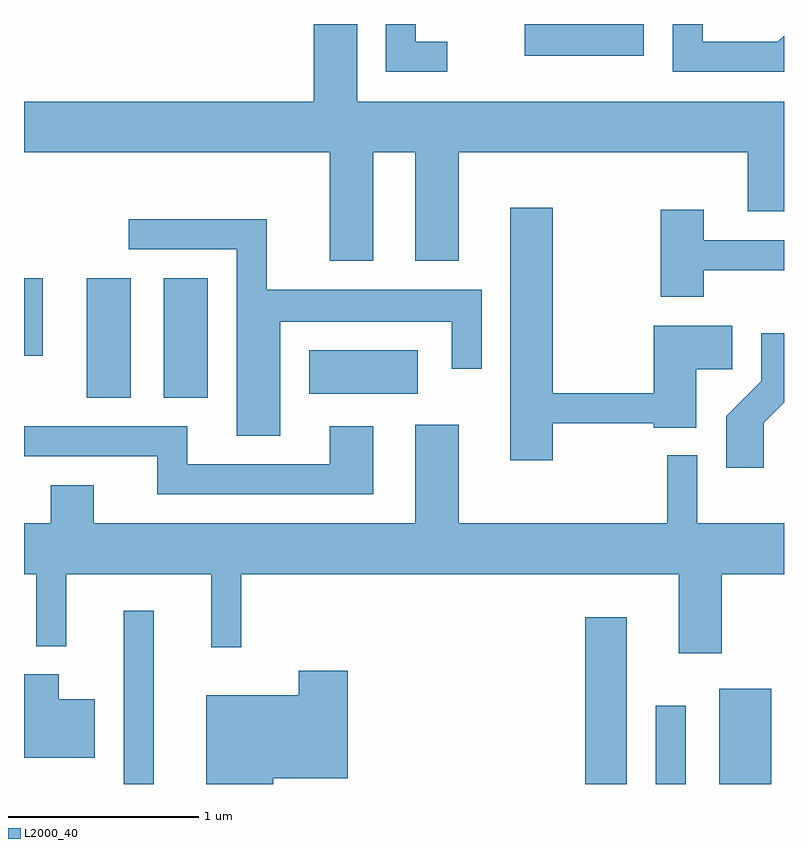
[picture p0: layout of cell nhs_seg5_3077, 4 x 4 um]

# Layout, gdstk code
import gdstk
lib = gdstk.Library(unit=1e-6, precision=1e-09)
def R(c, l, rs):  # rectangles x0, y0, x1, y1
    for r in rs: c.add(gdstk.rectangle(r[:2], r[2:], *l))
def P(c, l, *ps):  # polygons
    for p in ps: c.add(gdstk.Polygon(p, *l))
L2000_40 = (2000, 40)

nhs_seg5_3077 = lib.new_cell('nhs_seg5_3077')
R(nhs_seg5_3077, L2000_40, [(276.136,1520.072,276.294,1520.983), (278.566,1520.072,278.784,1520.949), (278.936,1520.072,279.094,1520.483), (279.271,1520.072,279.544,1520.574), (275.941,1522.106,276.174,1522.734), (276.346,1522.106,276.579,1522.734), (277.111,1522.126,277.684,1522.354), (275.611,1522.326,275.709,1522.734), (278.246,1523.906,278.874,1524.072)])
P(nhs_seg5_3077, L2000_40, [(277.838,1523.979),(277.674,1523.979),(277.674,1524.072),(277.516,1524.072),(277.516,1523.821),(277.838,1523.821)],
  [(279.611,1524.011),(279.579,1523.979),(279.184,1523.979),(279.184,1524.072),(279.026,1524.072),(279.026,1523.821),(279.611,1523.821)],
  [(277.449,1523.396),(277.671,1523.396),(277.671,1522.826),(277.899,1522.826),(277.899,1523.396),(279.421,1523.396),(279.421,1523.086),(279.611,1523.086),(279.611,1523.664),(277.364,1523.664),(277.364,1524.072),(277.136,1524.072),(277.136,1523.664),(275.611,1523.664),(275.611,1523.396),(277.221,1523.396),(277.221,1522.826),(277.449,1522.826)],
  [(278.394,1521.971),(278.926,1521.971),(278.926,1521.946),(279.149,1521.946),(279.149,1522.256),(279.339,1522.256),(279.339,1522.484),(278.926,1522.484),(278.926,1522.129),(278.394,1522.129),(278.394,1523.104),(278.171,1523.104),(278.171,1521.776),(278.394,1521.776)],
  [(279.189,1522.776),(279.611,1522.776),(279.611,1522.934),(279.189,1522.934),(279.189,1523.094),(278.961,1523.094),(278.961,1522.636),(279.189,1522.636)],
  [(276.959,1522.506),(277.861,1522.506),(277.861,1522.258),(278.019,1522.258),(278.019,1522.674),(276.889,1522.674),(276.889,1523.044),(276.163,1523.044),(276.163,1522.886),(276.731,1522.886),(276.731,1521.906),(276.959,1521.906)],
  [(279.504,1521.974),(279.611,1522.081),(279.611,1522.444),(279.491,1522.444),(279.491,1522.192),(279.306,1522.007),(279.306,1521.736),(279.504,1521.736)],
  [(279.284,1521.176),(279.611,1521.176),(279.611,1521.444),(279.154,1521.444),(279.154,1521.803),(278.996,1521.803),(278.996,1521.444),(277.899,1521.444),(277.899,1521.964),(277.671,1521.964),(277.671,1521.444),(275.979,1521.444),(275.979,1521.644),(275.751,1521.644),(275.751,1521.444),(275.611,1521.444),(275.611,1521.176),(275.676,1521.176),(275.676,1520.798),(275.834,1520.798),(275.834,1521.176),(276.596,1521.176),(276.596,1520.793),(276.754,1520.793),(276.754,1521.176),(279.056,1521.176),(279.056,1520.761),(279.284,1520.761)],
  [(277.449,1521.954),(277.221,1521.954),(277.221,1521.754),(276.469,1521.754),(276.469,1521.954),(275.611,1521.954),(275.611,1521.796),(276.311,1521.796),(276.311,1521.596),(277.449,1521.596)],
  [(276.924,1520.101),(277.314,1520.101),(277.314,1520.669),(277.056,1520.669),(277.056,1520.539),(276.571,1520.539),(276.571,1520.072),(276.924,1520.072)],
  [(275.984,1520.519),(275.794,1520.519),(275.794,1520.649),(275.611,1520.649),(275.611,1520.211),(275.984,1520.211)])

lib.write_gds('nhs_seg5_3077.gds')
